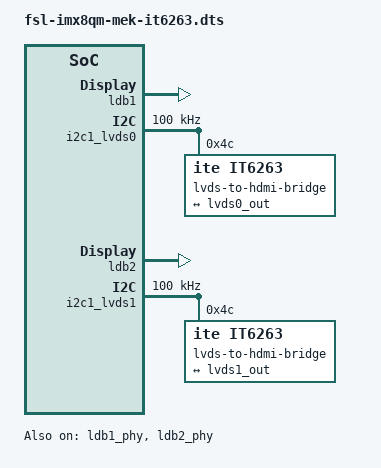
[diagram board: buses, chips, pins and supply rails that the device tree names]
/*
 * Copyright 2017 NXP
 *
 * This program is free software; you can redistribute it and/or
 * modify it under the terms of the GNU General Public License
 * as published by the Free Software Foundation; either version 2
 * of the License, or (at your option) any later version.
 *
 * This program is distributed in the hope that it will be useful,
 * but WITHOUT ANY WARRANTY; without even the implied warranty of
 * MERCHANTABILITY or FITNESS FOR A PARTICULAR PURPOSE.  See the
 * GNU General Public License for more details.
 */

#include "fsl-imx8qm-mek.dts"

&ldb1_phy {
	status = "okay";
};

&ldb1 {
	status = "okay";

	lvds-channel@0 {
		fsl,data-mapping = "jeida";
		fsl,data-width = <24>;
		status = "okay";

		port@1 {
			reg = <1>;

			lvds0_out: endpoint {
				remote-endpoint = <&it6263_0_in>;
			};
		};
	};
};

&i2c1_lvds0 {
	#address-cells = <1>;
	#size-cells = <0>;
	pinctrl-names = "default";
	pinctrl-0 = <&pinctrl_lvds0_lpi2c1>;
	clock-frequency = <100000>;
	status = "okay";

	lvds-to-hdmi-bridge@4c {
		compatible = "ite,it6263";
		reg = <0x4c>;

		port {
			it6263_0_in: endpoint {
				clock-lanes = <3>;
				data-lanes = <0 1 2 4>;
				remote-endpoint = <&lvds0_out>;
			};
		};
	};
};

&iomuxc {
	imx8qm-mek {
		pinctrl_lvds0_lpi2c1: lvds0lpi2c1grp {
			fsl,pins = <
				SC_P_LVDS0_I2C1_SCL_LVDS0_I2C1_SCL	0xc600004c
				SC_P_LVDS0_I2C1_SDA_LVDS0_I2C1_SDA	0xc600004c
			>;
		};
		pinctrl_lvds1_lpi2c1: lvds1lpi2c1grp {
			fsl,pins = <
				SC_P_LVDS1_I2C1_SCL_LVDS1_I2C1_SCL	0xc600004c
				SC_P_LVDS1_I2C1_SDA_LVDS1_I2C1_SDA	0xc600004c
			>;
		};
	};
};

&ldb2_phy {
	status = "okay";
};

&ldb2 {
	status = "okay";

	lvds-channel@0 {
		fsl,data-mapping = "jeida";
		fsl,data-width = <24>;
		status = "okay";

		port@1 {
			reg = <1>;

			lvds1_out: endpoint {
				remote-endpoint = <&it6263_1_in>;
			};
		};
	};
};

&i2c1_lvds1 {
	#address-cells = <1>;
	#size-cells = <0>;
	pinctrl-names = "default";
	pinctrl-0 = <&pinctrl_lvds1_lpi2c1>;
	clock-frequency = <100000>;
	status = "okay";

	lvds-to-hdmi-bridge@4c {
		compatible = "ite,it6263";
		reg = <0x4c>;

		port {
			it6263_1_in: endpoint {
				clock-lanes = <3>;
				data-lanes = <0 1 2 4>;
				remote-endpoint = <&lvds1_out>;
			};
		};
	};
};
